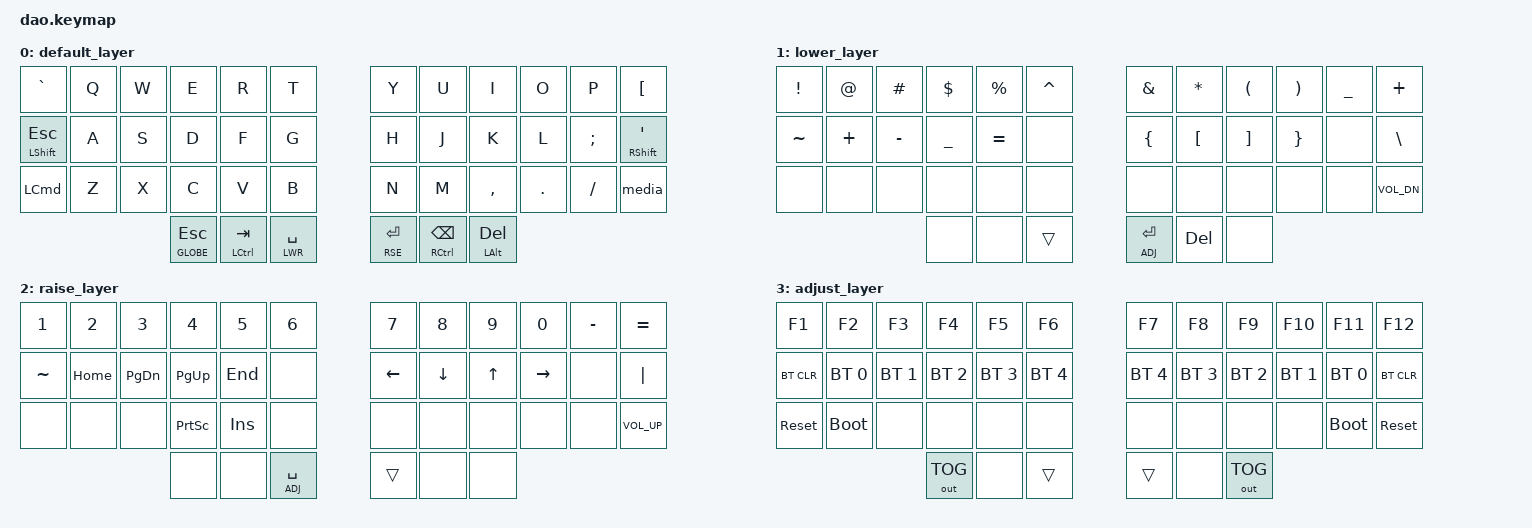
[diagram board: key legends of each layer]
#include <behaviors.dtsi>
#include <dt-bindings/zmk/outputs.h>
#include <dt-bindings/zmk/keys.h>
#include <dt-bindings/zmk/bt.h>

#define DEF 0
#define LWR 1
#define RSE 2
#define ADJ 3

&lt { quick_tap_ms = <200>; };
&mt { quick_tap_ms = <200>; };

/ {
    chosen { zmk,matrix_transform = &default_transform; };
  };

/ {
    macros {
      hold: holdable_key {
        compatible = "zmk,behavior-macro-one-param";
        #binding-cells = <1>;
        bindings = 
          <&macro_param_1to1>,
          <&macro_tap &kp MACRO_PLACEHOLDER>,
          <&macro_pause_for_release>,
          <&macro_param_1to1>,
          <&macro_tap &kp MACRO_PLACEHOLDER>;
      };
    };
};

/ {
    behaviors {
      ht: hold_tap {
        compatible = "zmk,behavior-hold-tap";
        flavor = "tap-preferred";
        quick-tap-ms = <200>;
        tapping-term-ms = <200>;
        require-prior-idle-ms = <125>;
        #binding-cells = <2>;
        bindings = <&hold>, <&kp>;
      };
      media: td_media {
        compatible = "zmk,behavior-tap-dance";
        tapping-term-ms = <200>;
        #binding-cells = <0>;
        bindings = <&ht C_MUTE C_PP>, <&kp C_NEXT>, <&kp C_PREV>;
      };
    };

     /*    COMPOSED KEYMAPS
      *    ,-----------------------------------------------.        ,-----------------------------------------------.
      *    |   1   |   2   |   3   |   4   |   5   |   6   |        |   7   |   8   |   9   |   0   |   -   |   =   |
      *    |   `   |   Q   |   W   |   E   |   R   |   T   |        |   Y   |   U   |   I   |   O   |   P   |  (x)  |
      *    |   !   |   @   |   #   |   $   |   %   |   ^   |        |   &   |   *   |   (   |   )   |   _   |   +   |
      *    |-------+-------+-------+-------+-------+-------|        |-------+-------+-------+-------+-------+-------|
      *    |   ~   |   +   |   -   |   _   |   =   |       |        |  Lft  |  Dwn  |  Up   | Right |       |   |   |
      *    |SFT-Esc|   A   |   S   |   D   |   F   |   G   |        |   H   |   J   |   K   |   L   |   ;   | SFT-" |
      *    |   ~   | HOME  | PGDN  | PGUP  |  END  |       |        |   {   |   [   |   ]   |   }   |       | \ (ё) |
      *    |-------+-------+-------+-------+-------+-------|        |-------+-------+-------+-------+-------+-------|
      *    |       |       |       |       |       |       |        |       |       |       |       |       | VolUp |
      *    |  CMD  |   Z   |   X   |   C   |   V   |   B   |        |   N   |   M   |   ,   |   .   |   /   | Media |
      *    |       |       |       | PSCRN |  INS  |       |        |       |  (ъ)  |       |       |       | VolDn |
      *    `-------+-------+-------+-------+-------+-------|        |-------+-------+-------+-------+-------+-------'
      *                            |       |       | A-Spc |        |       |       |       |
      *                            | F-Esc |CTL-Tab| L-Spc |        | R-Ret |CTL-Bsp|ALT-Del|
      *                            |       |       |       |        | A-Ret |  Del  |       |
      *                            `-----------------------'        `-----------------------'
      */
    keymap {
      compatible = "zmk,keymap";

     /*    DEFAULT LAYER
      *    ,-----------------------------------------------.        ,-----------------------------------------------.
      *    |   `   |   Q   |   W   |   E   |   R   |   T   |        |   Y   |   U   |   I   |   O   |   P   |  (x)  |
      *    |-------+-------+-------+-------+-------+-------|        |-------+-------+-------+-------+-------+-------|
      *    |SFT-Esc|   A   |   S   |   D   |   F   |   G   |        |   H   |   J   |   K   |   L   |   ;   | SFT-" |
      *    |-------+-------+-------+-------+-------+-------|        |-------+-------+-------+-------+-------+-------|
      *    |  CMD  |   Z   |   X   |   C   |   V   |   B   |        |   N   |   M   |   ,   |   .   |   /   | Media |
      *    `-------+-------+-------+-------+-------+-------|        |-------+-------+-------+-------+-------+-------'
      *                            | F-Esc |CTL-Tab| L-Spc |        | R-Ret |CTL-Bsp|ALT-Del|
      *                            `-----------------------'        `-----------------------'
      */
      default_layer {
        bindings = <
          &kp GRAVE   &kp Q   &kp W   &kp E   &kp R   &kp T          &kp Y   &kp U   &kp I     &kp O   &kp P      &kp LBKT
     &mt LSHIFT ESC   &kp A   &kp S   &kp D   &kp F   &kp G          &kp H   &kp J   &kp K     &kp L   &kp SEMI   &mt RSHIFT SQT
          &kp LCMD    &kp Z   &kp X   &kp C   &kp V   &kp B          &kp N   &kp M   &kp COMMA &kp DOT &kp FSLH   &media
              &mt GLOBE ESC   &mt LCTRL TAB   &lt LWR SPACE          &lt RSE RET     &mt RCTRL BSPC    &mt LALT DEL
        >;
      };

     /*    LOWER LAYER
      *    ,-----------------------------------------------.        ,-----------------------------------------------.
      *    |   !   |   @   |   #   |   $   |   %   |   ^   |        |   &   |   *   |   (   |   )   |   _   |   +   |
      *    |-------+-------+-------+-------+-------+-------|        |-------+-------+-------+-------+-------+-------|
      *    |   ~   |   +   |   -   |   _   |   =   |       |        |   {   |   [   |   ]   |   }   |       | \ (ё) |
      *    |-------+-------+-------+-------+-------+-------|        |-------+-------+-------+-------+-------+-------|
      *    |       |       |       |       |       |       |        |       |  (ъ)  |       |       |       | VolDn |
      *    `-------+-------+-------+-------+-------+-------|        |-------+-------+-------+-------+-------+-------'
      *                            |       |       |       |        | A-Ret |  Del  |       |
      *                            `-----------------------'        `-----------------------'
      */
      lower_layer {
        bindings = <
          &kp EXCL &kp AT   &kp HASH  &kp DLLR  &kp PRCNT &kp CARET  &kp AMPS &kp STAR &kp LPAR &kp RPAR &kp UNDER &kp PLUS
         &kp TILDE &kp PLUS &kp MINUS &kp UNDER &kp EQUAL &none      &kp LBRC &kp LBKT &kp RBKT &kp RBRC &none     &kp BSLH
          &none    &none    &none     &none     &none     &none      &none    &none    &none    &none    &none     &kp C_VOL_DN
                                      &none     &none     &trans     &lt ADJ RET       &kp DEL  &none
        >;
      };

     /*    RAISE LAYER
      *    ,-----------------------------------------------.        ,-----------------------------------------------.
      *    |   1   |   2   |   3   |   4   |   5   |   6   |        |   7   |   8   |   9   |   0   |   -   |   =   |
      *    |-------+-------+-------+-------+-------+-------|        |-------+-------+-------+-------+-------+-------|
      *    |   ~   | HOME  | PGDN  | PGUP  |  END  |       |        |  Lft  |  Dwn  |  Up   | Right |       |   |   |
      *    |-------+-------+-------+-------+-------+-------|        |-------+-------+-------+-------+-------+-------|
      *    |       |       |       | PSCRN |  INS  |       |        |       |       |       |       |       | VolUp |
      *    `-------+-------+-------+-------+-------+-------|        |-------+-------+-------+-------+-------+-------'
      *                            |       |       | A-Spc |        |       |       |       |
      *                            `-----------------------'        `-----------------------'
      */
      raise_layer {
        bindings = <
          &kp N1 &kp N2   &kp N3    &kp N4    &kp N5    &kp N6       &kp N7   &kp N8   &kp N9   &kp N0    &kp MINUS &kp EQUAL
       &kp TILDE &kp HOME &kp PG_DN &kp PG_UP &kp END   &none        &kp LEFT &kp DOWN &kp UP   &kp RIGHT &none     &kp PIPE
          &none  &none    &none     &kp PSCRN &kp INS   &none        &none    &none    &none    &none     &none     &kp C_VOL_UP
                          &none     &none     &lt ADJ SPACE          &trans   &none    &none
        >;
      };

     /*    ADJUST LAYER (LOWER + RAISE)
      *    ,-----------------------------------------------.        ,-----------------------------------------------.
      *    |  F-1  |  F-2  |  F-3  |  F-4  |  F-5  |  F-6  |        |  F-7  |  F-8  |  F-9  |  F10  |  F11  |  F12  |
      *    |-------+-------+-------+-------+-------+-------|        |-------+-------+-------+-------+-------+-------|
      *    | CLEAR |  BT0  |  BT1  |  BT2  |  BT3  |  BT4  |        |  BT4  |  BT3  |  BT2  |  BT1  |  BT0  | CLEAR |
      *    |-------+-------+-------+-------+-------+-------|        |-------+-------+-------+-------+-------+-------|
      *    | RESET | BOOTL |       |       |       |       |        |       |       |       |       | BOOTL | RESET |
      *    `-------+-------+-------+-------+-------+-------|        |-------+-------+-------+-------+-------+-------'
      *                            |  OUT  |       |       |        |       |       |  OUT  |
      *                            `-----------------------'        `-----------------------'
      */
      adjust_layer {
        bindings = <
&kp F1     &kp F2       &kp F3       &kp F4       &kp F5       &kp F6       &kp F7       &kp F8       &kp F9       &kp F10      &kp F11      &kp F12
&bt BT_CLR &bt BT_SEL 0 &bt BT_SEL 1 &bt BT_SEL 2 &bt BT_SEL 3 &bt BT_SEL 4 &bt BT_SEL 4 &bt BT_SEL 3 &bt BT_SEL 2 &bt BT_SEL 1 &bt BT_SEL 0 &bt BT_CLR
&sys_reset &bootloader  &none        &none        &none        &none        &none        &none        &none        &none        &bootloader  &sys_reset
                              &out OUT_TOG        &none        &trans       &trans       &none        &out OUT_TOG
        >;
    };
  };
};

